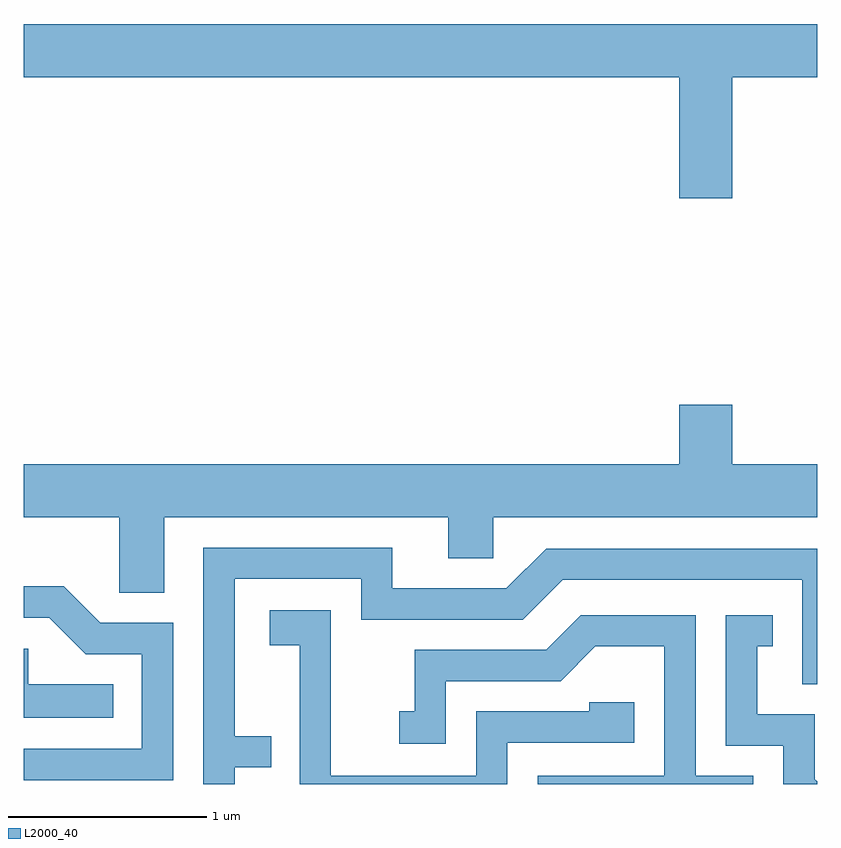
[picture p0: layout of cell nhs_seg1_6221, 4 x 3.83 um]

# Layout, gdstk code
import gdstk
lib = gdstk.Library(unit=1e-6, precision=1e-09)
def P(c, l, *ps):  # polygons
    for p in ps: c.add(gdstk.Polygon(p, *l))
L2000_40 = (2000, 40)

nhs_seg1_6221 = lib.new_cell('nhs_seg1_6221')
P(nhs_seg1_6221, L2000_40, [(371.611,977.276),(374.916,977.276),(374.916,976.666),(375.184,976.666),(375.184,977.276),(375.611,977.276),(375.611,977.544),(371.611,977.544)],
  [(372.319,975.056),(373.751,975.056),(373.751,974.851),(373.979,974.851),(373.979,975.056),(375.611,975.056),(375.611,975.324),(375.184,975.324),(375.184,975.624),(374.916,975.624),(374.916,975.324),(371.611,975.324),(371.611,975.056),(372.091,975.056),(372.091,974.676),(372.319,974.676)],
  [(372.674,973.796),(372.858,973.796),(372.858,973.954),(372.674,973.954),(372.674,974.746),(373.311,974.746),(373.311,974.541),(374.127,974.541),(374.327,974.741),(375.536,974.741),(375.536,974.216),(375.611,974.216),(375.611,974.899),(374.244,974.899),(374.044,974.699),(373.469,974.699),(373.469,974.904),(372.516,974.904),(372.516,973.712),(372.674,973.712)],
  [(372.364,974.524),(371.997,974.524),(371.812,974.709),(371.611,974.709),(371.611,974.551),(371.739,974.551),(371.924,974.366),(372.206,974.366),(372.206,973.889),(371.611,973.889),(371.611,973.731),(372.364,973.731)],
  [(374.049,973.921),(374.689,973.921),(374.689,974.124),(374.461,974.124),(374.461,974.079),(373.891,974.079),(373.891,973.754),(373.159,973.754),(373.159,974.589),(372.851,974.589),(372.851,974.411),(373.001,974.411),(373.001,973.712),(374.049,973.712)],
  [(375.289,973.754),(374.999,973.754),(374.999,974.564),(374.419,974.564),(374.244,974.389),(373.581,974.389),(373.581,974.079),(373.503,974.079),(373.503,973.916),(373.739,973.916),(373.739,974.231),(374.317,974.231),(374.492,974.406),(374.841,974.406),(374.841,973.754),(374.201,973.754),(374.201,973.712),(375.289,973.712)],
  [(375.611,973.725),(375.599,973.737),(375.599,974.064),(375.309,974.064),(375.309,974.406),(375.388,974.406),(375.388,974.564),(375.151,974.564),(375.151,973.906),(375.441,973.906),(375.441,973.712),(375.611,973.712)],
  [(372.063,974.214),(371.634,974.214),(371.634,974.394),(371.611,974.394),(371.611,974.046),(372.063,974.046)])

lib.write_gds('nhs_seg1_6221.gds')
